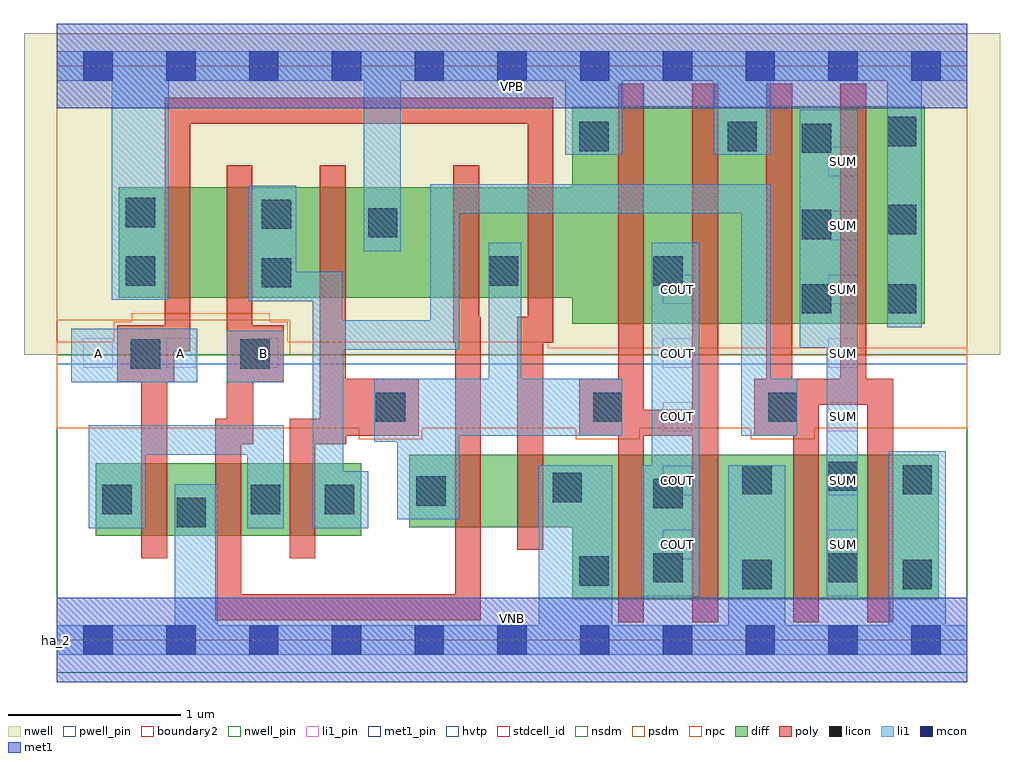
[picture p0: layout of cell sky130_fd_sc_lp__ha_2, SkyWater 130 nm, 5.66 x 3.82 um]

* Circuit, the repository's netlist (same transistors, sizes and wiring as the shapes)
* Copyright 2020 The SkyWater PDK Authors
*
* Licensed under the Apache License, Version 2.0 (the "License");
* you may not use this file except in compliance with the License.
* You may obtain a copy of the License at
*
*     https://www.apache.org/licenses/LICENSE-2.0
*
* Unless required by applicable law or agreed to in writing, software
* distributed under the License is distributed on an "AS IS" BASIS,
* WITHOUT WARRANTIES OR CONDITIONS OF ANY KIND, either express or implied.
* See the License for the specific language governing permissions and
* limitations under the License.
*
* SPDX-License-Identifier: Apache-2.0

.SUBCKT sky130_fd_sc_lp__ha_2 A B VGND VNB VPB VPWR COUT SUM
*.PININFO A:I B:I VGND:I VNB:I VPB:I VPWR:I COUT:O SUM:O
MMIN2 COUT majb VGND VNB sky130_fd_pr__nfet_01v8 m=2 w=0.84U l=0.15U mult=1 sa=0.265
+ sb=0.265 sd=0.28 area=0.063 perim=1.14
MMIN3 SUM sumb VGND VNB sky130_fd_pr__nfet_01v8 m=2 w=0.84U l=0.15U mult=1 sa=0.265
+ sb=0.265 sd=0.28 area=0.063 perim=1.14
MMNnand0 VGND A sndNA VNB sky130_fd_pr__nfet_01v8 m=1 w=0.42U l=0.15U mult=1 sa=0.265
+ sb=0.265 sd=0.28 area=0.063 perim=1.14
MMNnand1 sndNA B majb VNB sky130_fd_pr__nfet_01v8 m=1 w=0.42U l=0.15U mult=1 sa=0.265
+ sb=0.265 sd=0.28 area=0.063 perim=1.14
MMNs1 sumb majb nint1 VNB sky130_fd_pr__nfet_01v8 m=1 w=0.42U l=0.15U mult=1 sa=0.265
+ sb=0.265 sd=0.28 area=0.063 perim=1.14
MMNs20 VGND A nint1 VNB sky130_fd_pr__nfet_01v8 m=1 w=0.42U l=0.15U mult=1 sa=0.265
+ sb=0.265 sd=0.28 area=0.063 perim=1.14
MMNs21 VGND B nint1 VNB sky130_fd_pr__nfet_01v8 m=1 w=0.42U l=0.15U mult=1 sa=0.265
+ sb=0.265 sd=0.28 area=0.063 perim=1.14
MMIP2 COUT majb VPWR VPB sky130_fd_pr__pfet_01v8_hvt m=2 w=1.26U l=0.15U mult=1
+ sa=0.265 sb=0.265 sd=0.28 area=0.063 perim=1.14
MMIP3 SUM sumb VPWR VPB sky130_fd_pr__pfet_01v8_hvt m=2 w=1.26U l=0.15U mult=1
+ sa=0.265 sb=0.265 sd=0.28 area=0.063 perim=1.14
MMPnand0 majb A VPWR VPB sky130_fd_pr__pfet_01v8_hvt m=1 w=0.64U l=0.15U mult=1
+ sa=0.265 sb=0.265 sd=0.28 area=0.063 perim=1.14
MMPnand1 majb B VPWR VPB sky130_fd_pr__pfet_01v8_hvt m=1 w=0.64U l=0.15U mult=1
+ sa=0.265 sb=0.265 sd=0.28 area=0.063 perim=1.14
MMPs1 VPWR majb sumb VPB sky130_fd_pr__pfet_01v8_hvt m=1 w=0.64U l=0.15U mult=1
+ sa=0.265 sb=0.265 sd=0.28 area=0.063 perim=1.14
MMPs20 VPWR A sndPA VPB sky130_fd_pr__pfet_01v8_hvt m=1 w=0.64U l=0.15U mult=1
+ sa=0.265 sb=0.265 sd=0.28 area=0.063 perim=1.14
MMPs21 sndPA B sumb VPB sky130_fd_pr__pfet_01v8_hvt m=1 w=0.64U l=0.15U mult=1
+ sa=0.265 sb=0.265 sd=0.28 area=0.063 perim=1.14
.ENDS sky130_fd_sc_lp__ha_2

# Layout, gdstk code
import gdstk
lib = gdstk.Library(unit=1e-6, precision=1e-09)
def R(c, l, rs):  # rectangles x0, y0, x1, y1
    for r in rs: c.add(gdstk.rectangle(r[:2], r[2:], *l))
def A(c, l, x, y, w, h, nx, ny, dx, dy):  # array of equal rectangles
    R(c, l, [(x+i*dx, y+j*dy, x+i*dx+w, y+j*dy+h) for i in range(nx) for j in range(ny)])
def P(c, l, *ps):  # polygons
    for p in ps: c.add(gdstk.Polygon(p, *l))
nwell_pin = (64, 16)
nwell = (64, 20)
diff = (65, 20)
poly = (66, 20)
licon = (66, 44)
li1_pin = (67, 16)
li1 = (67, 20)
mcon = (67, 44)
met1_pin = (68, 16)
met1 = (68, 20)
hvtp = (78, 44)
stdcell_id = (81, 4)
nsdm = (93, 44)
psdm = (94, 20)
npc = (95, 20)
pwell_pin = (122, 16)
boundary2 = (236, 0)

sky130_fd_sc_lp__ha_2 = lib.new_cell('sky130_fd_sc_lp__ha_2')
R(sky130_fd_sc_lp__ha_2, nwell_pin, [(0,3.085,5.28,3.33)])
R(sky130_fd_sc_lp__ha_2, nwell, [(-0.19,1.655,5.47,3.52)])
R(sky130_fd_sc_lp__ha_2, diff, [(0.225,0.605,1.765,1.025)])
P(sky130_fd_sc_lp__ha_2, diff, [(5.035,3.095),(2.99,3.095),(2.99,2.625),(0.36,2.625),(0.36,1.985),(2.99,1.985),(2.99,1.835),(5.035,1.835)],
  [(5.115,1.075),(2.045,1.075),(2.045,0.655),(2.99,0.655),(2.99,0.235),(5.115,0.235)])
P(sky130_fd_sc_lp__ha_2, poly, [(2.1,1.515),(1.675,1.515),(1.675,2.755),(1.525,2.755),(1.525,1.285),(1.35,1.285),(1.35,0.475),(1.5,0.475),(1.5,1.135),(1.68,1.135),(1.68,1.185),(2.1,1.185)],
  [(2.46,1.875),(2.45,1.875),(2.45,2.755),(2.3,2.755),(2.3,1.725),(2.31,1.725),(2.31,0.265),(1.07,0.265),(1.07,1.135),(1.14,1.135),(1.14,1.495),(1.315,1.495),(1.315,1.825),(1.135,1.825),(1.135,2.755),(0.985,2.755),(0.985,1.285),(0.92,1.285),(0.92,0.115),(2.46,0.115)],
  [(2.88,3.145),(0.625,3.145),(0.625,1.825),(0.35,1.825),(0.35,1.495),(0.49,1.495),(0.49,0.475),(0.64,0.475),(0.64,1.495),(0.68,1.495),(0.68,1.675),(0.775,1.675),(0.775,2.995),(2.73,2.995),(2.73,1.875),(2.67,1.875),(2.67,0.525),(2.82,0.525),(2.82,1.725),(2.88,1.725)],
  [(3.835,3.225),(3.685,3.225),(3.685,1.335),(3.405,1.335),(3.405,3.225),(3.255,3.225),(3.255,1.515),(3.03,1.515),(3.03,1.185),(3.255,1.185),(3.255,0.105),(3.405,0.105),(3.405,1.185),(3.685,1.185),(3.685,0.105),(3.835,0.105)],
  [(4.85,1.515),(4.695,1.515),(4.695,3.225),(4.545,3.225),(4.545,1.515),(4.265,1.515),(4.265,3.225),(4.115,3.225),(4.115,1.515),(4.045,1.515),(4.045,1.185),(4.27,1.185),(4.27,0.105),(4.42,0.105),(4.42,1.365),(4.7,1.365),(4.7,0.105),(4.85,0.105)])
R(sky130_fd_sc_lp__ha_2, licon, [(3.975,0.295,4.145,0.465), (4.905,0.295,5.075,0.465), (3.03,0.315,3.2,0.485), (3.46,0.335,3.63,0.505), (4.475,0.335,4.645,0.505), (0.695,0.655,0.865,0.825), (0.265,0.73,0.435,0.9), (1.125,0.73,1.295,0.9), (1.555,0.73,1.725,0.9), (3.46,0.765,3.63,0.935), (2.085,0.78,2.255,0.95), (2.875,0.8,3.045,0.97), (3.975,0.845,4.145,1.015), (4.905,0.845,5.075,1.015), (4.475,0.865,4.645,1.035), (1.85,1.265,2.02,1.435), (3.11,1.265,3.28,1.435), (4.125,1.265,4.295,1.435), (0.43,1.575,0.6,1.745), (1.065,1.575,1.235,1.745), (4.32,1.895,4.49,2.065), (4.815,1.895,4.985,2.065), (1.19,2.045,1.36,2.215), (0.4,2.055,0.57,2.225), (2.505,2.055,2.675,2.225), (3.46,2.055,3.63,2.225), (4.32,2.325,4.49,2.495), (1.805,2.335,1.975,2.505), (4.815,2.355,4.985,2.525), (1.19,2.385,1.36,2.555), (0.4,2.395,0.57,2.565), (4.32,2.825,4.49,2.995), (3.03,2.835,3.2,3.005), (3.89,2.835,4.06,3.005), (4.815,2.865,4.985,3.035)])
A(sky130_fd_sc_lp__ha_2, li1_pin, 3.515, 0.47, 0.17, 0.17, 1, 5, 0, 0.37)
A(sky130_fd_sc_lp__ha_2, li1_pin, 4.475, 0.47, 0.17, 0.17, 1, 7, 0, 0.37)
A(sky130_fd_sc_lp__ha_2, li1_pin, 0.155, 1.58, 0.17, 0.17, 3, 1, 0.48, 0)
R(sky130_fd_sc_lp__ha_2, li1, [(0.085,1.495,0.815,1.805), (0.985,1.495,1.315,1.795)])
P(sky130_fd_sc_lp__ha_2, li1, [(0.32,1.975),(0.32,3.245),(0,3.245),(0,3.415),(5.28,3.415),(5.28,3.245),(5.015,3.245),(5.015,1.815),(4.815,1.815),(4.815,3.245),(4.14,3.245),(4.14,2.815),(3.81,2.815),(3.81,3.245),(3.28,3.245),(3.28,2.815),(2.95,2.815),(2.95,3.245),(1.995,3.245),(1.995,2.255),(1.78,2.255),(1.78,3.245),(0.65,3.245),(0.65,1.975)],
  [(3.895,0.085),(3.895,1.015),(4.225,1.015),(4.225,0.085),(4.825,0.085),(4.825,1.095),(5.155,1.095),(5.155,0.085),(5.28,0.085),(5.28,-0.085),(0,-0.085),(0,0.085),(0.685,0.085),(0.685,0.905),(0.935,0.905),(0.935,0.085),(2.795,0.085),(2.795,1.015),(3.22,1.015),(3.22,0.085)],
  [(3.39,0.255),(3.39,1.015),(3.45,1.015),(3.45,2.305),(3.725,2.305),(3.725,0.255)],
  [(4.31,1.695),(4.31,3.075),(4.645,3.075),(4.645,0.255),(4.465,0.255),(4.465,1.695)],
  [(4.295,1.515),(4.14,1.515),(4.14,2.645),(2.165,2.645),(2.165,1.855),(1.655,1.855),(1.655,2.135),(1.39,2.135),(1.39,2.635),(1.11,2.635),(1.11,1.965),(1.485,1.965),(1.485,0.65),(1.805,0.65),(1.805,0.98),(1.66,0.98),(1.66,1.685),(2.335,1.685),(2.335,2.475),(3.97,2.475),(3.97,1.185),(4.295,1.185)],
  [(2.505,1.515),(2.505,2.305),(2.695,2.305),(2.695,1.515),(3.28,1.515),(3.28,1.185),(2.335,1.185),(2.335,0.7),(1.975,0.7),(1.975,1.15),(1.84,1.15),(1.84,1.515)],
  [(0.185,1.245),(1.315,1.245),(1.315,0.65),(1.105,0.65),(1.105,1.075),(0.515,1.075),(0.515,0.65),(0.185,0.65)])
A(sky130_fd_sc_lp__ha_2, mcon, 0.155, -0.085, 0.17, 0.17, 11, 2, 0.48, 3.33)
R(sky130_fd_sc_lp__ha_2, met1_pin, [(0,0,5.28,0.245), (0,3.085,5.28,3.33)])
R(sky130_fd_sc_lp__ha_2, met1, [(0,-0.245,5.28,0.245), (0,3.085,5.28,3.575)])
R(sky130_fd_sc_lp__ha_2, hvtp, [(0,1.6,5.28,3.33)])
R(sky130_fd_sc_lp__ha_2, stdcell_id, [(0,0,5.28,3.33)])
R(sky130_fd_sc_lp__ha_2, nsdm, [(0,-0.19,5.28,1.655)])
P(sky130_fd_sc_lp__ha_2, psdm, [(5.28,3.52),(0,3.52),(0,1.855),(1.35,1.855),(1.35,1.655),(5.28,1.655)])
P(sky130_fd_sc_lp__ha_2, npc, [(5.28,1.695),(2.85,1.695),(2.85,1.73),(1.34,1.73),(1.34,1.845),(1.235,1.845),(1.235,1.895),(0.435,1.895),(0.435,1.845),(0.33,1.845),(0.33,1.73),(0,1.73),(0,1.23),(1.75,1.23),(1.75,1.165),(2.12,1.165),(2.12,1.23),(3.01,1.23),(3.01,1.165),(3.38,1.165),(3.38,1.23),(4.025,1.23),(4.025,1.165),(4.395,1.165),(4.395,1.23),(5.28,1.23)])
R(sky130_fd_sc_lp__ha_2, pwell_pin, [(0,0,5.28,0.245)])
R(sky130_fd_sc_lp__ha_2, boundary2, [(0,0,5.28,3.33)])
sky130_fd_sc_lp__ha_2.add(gdstk.Label('VNB', (2.64,0.123), layer=64, texttype=59))
sky130_fd_sc_lp__ha_2.add(gdstk.Label('VPB', (2.64,3.208), layer=64, texttype=5))
sky130_fd_sc_lp__ha_2.add(gdstk.Label('ha_2', (0,0), layer=83, texttype=44))
sky130_fd_sc_lp__ha_2.add(gdstk.Label('VPWR', (2.64,3.208), layer=68, texttype=5))
sky130_fd_sc_lp__ha_2.add(gdstk.Label('VGND', (2.64,0.123), layer=68, texttype=5))
sky130_fd_sc_lp__ha_2.add(gdstk.Label('COUT', (3.6,0.555), layer=67, texttype=5))
sky130_fd_sc_lp__ha_2.add(gdstk.Label('COUT', (3.6,0.925), layer=67, texttype=5))
sky130_fd_sc_lp__ha_2.add(gdstk.Label('COUT', (3.6,1.295), layer=67, texttype=5))
sky130_fd_sc_lp__ha_2.add(gdstk.Label('COUT', (3.6,1.665), layer=67, texttype=5))
sky130_fd_sc_lp__ha_2.add(gdstk.Label('COUT', (3.6,2.035), layer=67, texttype=5))
sky130_fd_sc_lp__ha_2.add(gdstk.Label('SUM', (4.56,0.555), layer=67, texttype=5))
sky130_fd_sc_lp__ha_2.add(gdstk.Label('SUM', (4.56,0.925), layer=67, texttype=5))
sky130_fd_sc_lp__ha_2.add(gdstk.Label('SUM', (4.56,1.295), layer=67, texttype=5))
sky130_fd_sc_lp__ha_2.add(gdstk.Label('SUM', (4.56,1.665), layer=67, texttype=5))
sky130_fd_sc_lp__ha_2.add(gdstk.Label('SUM', (4.56,2.035), layer=67, texttype=5))
sky130_fd_sc_lp__ha_2.add(gdstk.Label('SUM', (4.56,2.405), layer=67, texttype=5))
sky130_fd_sc_lp__ha_2.add(gdstk.Label('SUM', (4.56,2.775), layer=67, texttype=5))
sky130_fd_sc_lp__ha_2.add(gdstk.Label('A', (0.24,1.665), layer=67, texttype=5))
sky130_fd_sc_lp__ha_2.add(gdstk.Label('A', (0.72,1.665), layer=67, texttype=5))
sky130_fd_sc_lp__ha_2.add(gdstk.Label('B', (1.2,1.665), layer=67, texttype=5))

lib.write_gds('sky130_fd_sc_lp__ha_2.gds')
